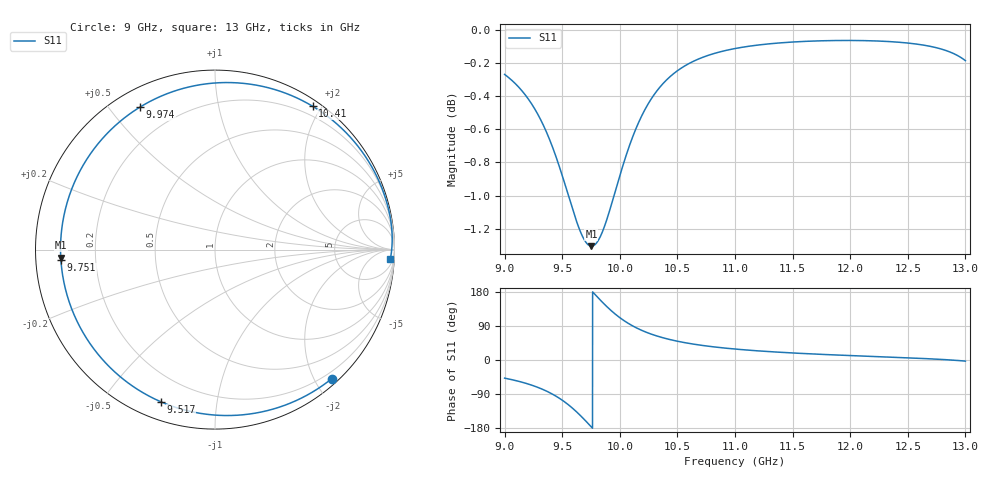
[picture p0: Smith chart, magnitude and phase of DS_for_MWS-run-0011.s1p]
! TOUCHSTONE file generated by CST DESIGN STUDIO
! Date and time: Tue Feb  4 17:05:34 2025
! Project name: C:\Work\MatlabApps\UnitCellOptimizationMatlab\CST\unitcell.cst
! Tree item: Tasks\Sweep1\SPara1\S-Parameters
! Header version: 2024
! Port assignment regex: !\s*Touchstone port\s*([0-9]+)\s*=\s*(CST MWS port|CST DES external port|CST DES block port)\s*(.+)\s* \(\"(.*)\"\)(\s*mode\s*([0-9]+))?.*
! Touchstone port assignment:
! Touchstone port 1 = CST DES external port 1 ("")
# GHz S MA R 50
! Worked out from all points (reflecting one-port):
!   4001 points, 9 GHz to 13 GHz, reference 50 ohm
!   lowest |S11| = -1.3 dB at 9.754 GHz (marker M1), VSWR 13.33, Z = 3.75 - j1.3 ohm
!   phase of S11 starts at -48 deg and turns -315 deg over the sweep
!   S11 on the Smith chart (normalised r, x): 9 GHz: 0.09, -2.25; 9.517 GHz: 0.08, -0.70; 9.751 GHz: 0.08, -0.03; 9.974 GHz: 0.07, +0.60; 10.41 GHz: 0.08, +1.89; 13 GHz: 14, -33
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9  0.9696 -47.9
9.141  0.9594 -57.7
9.271  0.9454 -70.2
9.401  0.9247 -87.8
9.5  0.9038 -106.0
9.517  0.8999 -109.7
9.573  0.8868 -122.9
9.628  0.8747 -137.8
9.693  0.8642 -157.3
9.751  0.8605 -176.0
9.754  0.8605 -177.0
9.8  0.8626 168.0
9.848  0.8689 152.7
9.912  0.8821 133.9
9.974  0.8972 117.8
10  0.9036 111.7
10.088  0.9236 94.0
10.198  0.9432 77.2
10.299  0.9561 65.6
10.411  0.9662 55.7
10.5  0.972 49.6
10.717  0.9811 38.4
11  0.9871 28.9
11.5  0.9916 18.6
12  0.9927 11.7
12.5  0.9909 5.7
12.789  0.9868 1.6
13  0.9789 -3.0
